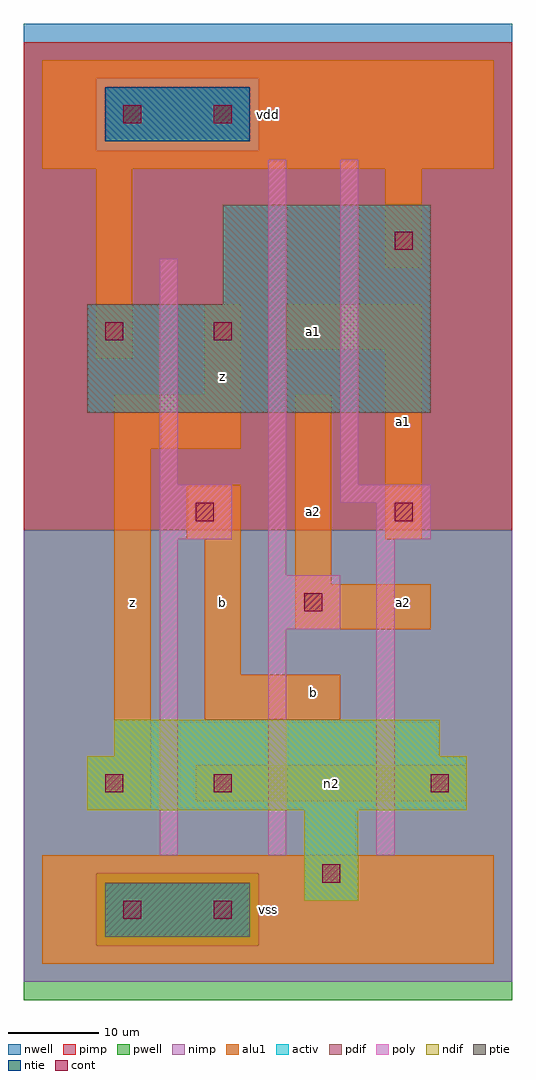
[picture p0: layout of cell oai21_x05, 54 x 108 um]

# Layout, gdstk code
import gdstk
lib = gdstk.Library(unit=1e-6, precision=1e-09)
def R(c, l, rs):  # rectangles x0, y0, x1, y1
    for r in rs: c.add(gdstk.rectangle(r[:2], r[2:], *l))
ndif = (3, 0)
pdif = (4, 0)
ntie = (5, 0)
ptie = (6, 0)
cont = (25, 0)
pwell = (41, 0)
nwell = (42, 0)
activ = (43, 0)
pimp = (44, 0)
nimp = (45, 0)
poly = (46, 0)
alu1 = (49, 0)

oai21_x05 = lib.new_cell('oai21_x05')
R(oai21_x05, ndif, [(29,7,35,17), (5,17,47,23), (8,23,44,27)])
R(oai21_x05, pdif, [(5,61,43,73), (20,73,43,84)])
R(oai21_x05, ntie, [(7,91,23,97)])
R(oai21_x05, ptie, [(7,3,23,9)])
R(oai21_x05, cont, [(9,5,11,7), (19,5,21,7), (31,9,33,11), (7,19,9,21), (19,19,21,21), (43,19,45,21), (29,39,31,41), (17,49,19,51), (39,49,41,51), (7,69,9,71), (19,69,21,71), (39,79,41,81), (9,93,11,95), (19,93,21,95)])
R(oai21_x05, pwell, [(-2,-4,52,48)])
R(oai21_x05, nwell, [(-2,48,52,104)])
R(oai21_x05, activ, [(7,3,23,9), (29,7,35,17), (5,17,47,23), (8,23,44,27), (5,61,43,73), (20,73,43,84), (7,91,23,97)])
R(oai21_x05, pimp, [(6,2,24,10), (-2,48,52,90), (-2,90,6,98), (24,90,52,98), (-2,98,52,102)])
R(oai21_x05, nimp, [(-2,-2,52,2), (-2,2,6,10), (24,2,52,10), (-2,10,52,48), (6,90,24,98)])
R(oai21_x05, poly, [(13,12,15,47), (25,12,27,37), (37,12,39,47), (25,37,33,43), (25,43,27,89), (13,47,21,53), (37,47,43,51), (33,51,43,53), (13,53,15,78), (33,53,35,89)])
R(oai21_x05, alu1, [(0,0,50,12), (5,17,12,23), (17,18,47,22), (8,23,12,57), (18,27,33,32), (18,32,22,47), (28,37,43,42), (28,42,32,63), (16,47,22,53), (38,47,42,68), (8,57,22,63), (18,63,22,73), (6,67,10,88), (27,68,42,73), (38,77,42,88), (0,88,50,100)])
oai21_x05.add(gdstk.Label('z', (10,40), layer=49, texttype=0))
oai21_x05.add(gdstk.Label('b', (20,40), layer=49, texttype=0))
oai21_x05.add(gdstk.Label('z', (20,65), layer=49, texttype=0))
oai21_x05.add(gdstk.Label('vss', (25,6), layer=49, texttype=0))
oai21_x05.add(gdstk.Label('b', (30,30), layer=49, texttype=0))
oai21_x05.add(gdstk.Label('a2', (30,50), layer=49, texttype=0))
oai21_x05.add(gdstk.Label('a1', (30,70), layer=49, texttype=0))
oai21_x05.add(gdstk.Label('vdd', (25,94), layer=49, texttype=0))
oai21_x05.add(gdstk.Label('n2', (32,20), layer=49, texttype=0))
oai21_x05.add(gdstk.Label('a2', (40,40), layer=49, texttype=0))
oai21_x05.add(gdstk.Label('a1', (40,60), layer=49, texttype=0))

lib.write_gds('oai21_x05.gds')
